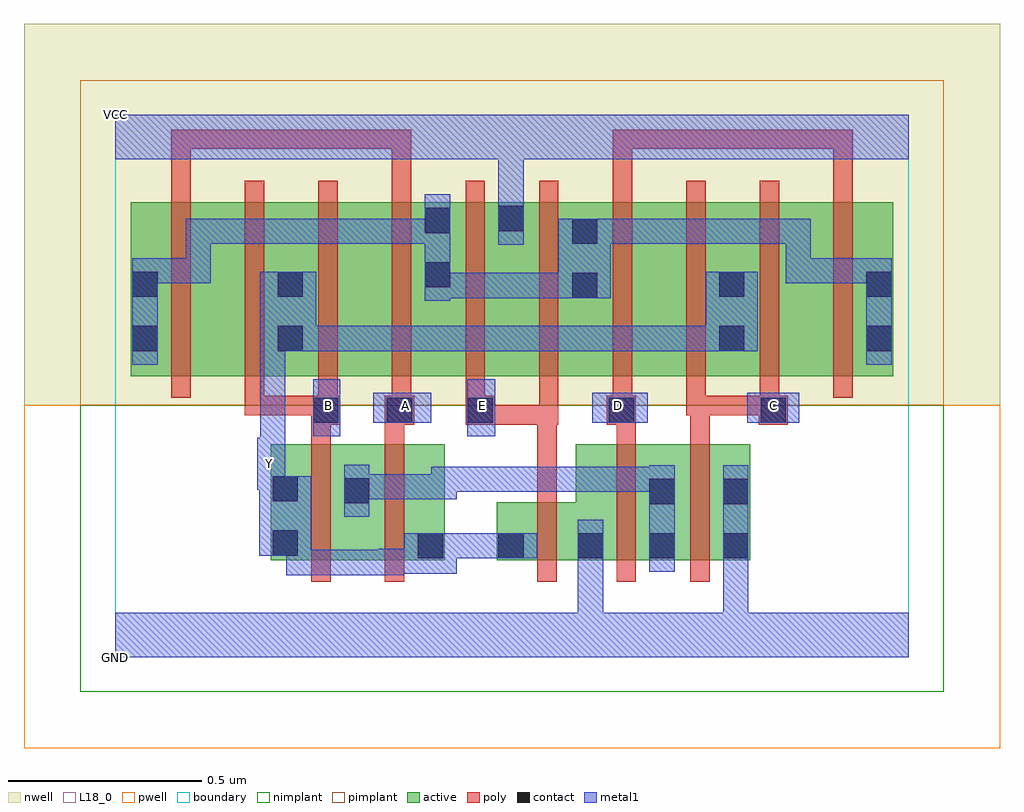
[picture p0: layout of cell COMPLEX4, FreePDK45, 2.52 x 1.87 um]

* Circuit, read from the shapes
.subckt COMPLEX4 A B C D E GND VCC Y
M1 n1 B Y VSUBS nfet w=0.3u l=0.05u
M2 Y A n1 VSUBS nfet w=0.3u l=0.05u
M3 GND E Y VSUBS nfet w=0.15u l=0.05u
M4 n1 D GND VSUBS nfet w=0.3u l=0.05u
M5 GND C n1 VSUBS nfet w=0.3u l=0.05u
M6 n2 A n3 n4 pfet w=0.45u l=0.05u
M7 Y B n2 n4 pfet w=0.45u l=0.05u
M8 n5 B Y n4 pfet w=0.45u l=0.05u
M9 n3 A n5 n4 pfet w=0.45u l=0.05u
M10 VCC E n3 n4 pfet w=0.45u l=0.05u m=2
M11 n6 D n3 n4 pfet w=0.45u l=0.05u
M12 Y C n6 n4 pfet w=0.45u l=0.05u
M13 n7 C Y n4 pfet w=0.45u l=0.05u
M14 n3 D n7 n4 pfet w=0.45u l=0.05u
.ends

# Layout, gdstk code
import gdstk
lib = gdstk.Library(unit=1e-6, precision=1e-09)
def R(c, l, rs):  # rectangles x0, y0, x1, y1
    for r in rs: c.add(gdstk.rectangle(r[:2], r[2:], *l))
def A(c, l, x, y, w, h, nx, ny, dx, dy):  # array of equal rectangles
    R(c, l, [(x+i*dx, y+j*dy, x+i*dx+w, y+j*dy+h) for i in range(nx) for j in range(ny)])
active = (1, 0)
pwell = (2, 0)
nwell = (3, 0)
nimplant = (4, 0)
pimplant = (5, 0)
poly = (9, 0)
contact = (10, 0)
metal1 = (11, 0)
L18_0 = (18, 0)
boundary = (235, 0)

complex4 = lib.new_cell('COMPLEX4')
R(complex4, active, [(0.402,0.25,0.477,0.55), (0.402,0.25,0.662,0.55), (0.587,0.25,0.852,0.55), (0.777,0.25,0.852,0.55), (0.985,0.25,1.06,0.4), (0.985,0.25,1.265,0.4), (1.19,0.25,1.45,0.55), (1.19,0.25,1.265,0.4), (1.375,0.25,1.45,0.55), (1.375,0.25,1.64,0.55), (1.565,0.25,1.64,0.55), (0.587,0.295,0.662,0.467), (0.04,0.725,0.115,1.155), (0.04,0.725,0.265,1.175), (0.265,0.725,0.49,1.175), (0.415,0.725,0.645,1.175), (0.415,0.725,0.49,1.07), (0.645,0.725,0.87,1.175), (0.795,0.725,1.06,1.175), (0.795,0.725,0.87,1.165), (0.985,0.725,1.25,1.175), (1.175,0.725,1.25,1.155), (1.175,0.725,1.405,1.175), (1.405,0.725,1.63,1.175), (1.555,0.725,1.785,1.175), (1.555,0.725,1.63,1.07), (1.785,0.725,2.01,1.175), (1.935,0.725,2.01,1.155), (0.985,0.852,1.06,1.175)])
R(complex4, pwell, [(-0.235,-0.235,2.285,0.65)])
R(complex4, nwell, [(-0.235,0.65,2.285,1.635)])
R(complex4, nimplant, [(-0.09,-0.09,2.14,0.65)])
R(complex4, pimplant, [(-0.09,0.65,2.14,1.49)])
A(complex4, poly, 0.335, 0.625, 0.05, 0.095, 4, 1, 0.19, 0)
A(complex4, poly, 1.285, 0.625, 0.05, 0.095, 3, 1, 0.19, 0)
A(complex4, poly, 0.145, 0.67, 0.05, 0.56, 10, 1, 0.19, 0)
A(complex4, poly, 0.145, 1.18, 0.05, 0.182, 4, 1, 0.57, 0)
R(complex4, poly, [(0.507,0.195,0.557,0.605), (0.697,0.195,0.747,0.605), (1.09,0.195,1.14,0.455), (1.295,0.195,1.345,0.605), (1.485,0.195,1.535,0.605), (1.09,0.405,1.14,0.65), (0.507,0.555,0.557,0.65), (0.697,0.555,0.747,0.65), (1.295,0.555,1.345,0.65), (1.485,0.555,1.535,0.675), (0.507,0.6,0.582,0.675), (0.697,0.6,0.772,0.675), (0.905,0.6,0.98,0.675), (0.93,0.6,0.98,0.65), (0.93,0.6,0.98,0.65), (0.93,0.6,1.14,0.65), (1.09,0.6,1.145,0.65), (1.095,0.6,1.145,0.72), (1.27,0.6,1.345,0.675), (1.662,0.6,1.737,0.675), (0.335,0.625,0.385,0.675), (0.335,0.625,0.385,0.675), (0.335,0.625,0.385,0.675), (0.335,0.625,0.557,0.675), (1.475,0.625,1.535,0.675), (1.485,0.625,1.712,0.675), (1.662,0.625,1.712,0.675), (1.662,0.625,1.712,0.675), (0.145,1.312,0.195,1.362), (0.145,1.312,0.195,1.362), (0.145,1.312,0.195,1.362), (0.145,1.312,0.425,1.362), (0.375,1.312,0.425,1.362), (0.375,1.312,0.425,1.362), (0.375,1.312,0.425,1.362), (0.375,1.312,0.615,1.362), (0.565,1.312,0.615,1.362), (0.565,1.312,0.615,1.362), (0.565,1.312,0.615,1.362), (0.565,1.312,0.765,1.362), (0.715,1.312,0.765,1.362), (1.285,1.312,1.335,1.362), (1.285,1.312,1.335,1.362), (1.285,1.312,1.335,1.362), (1.285,1.312,1.505,1.362), (1.455,1.312,1.505,1.362), (1.455,1.312,1.505,1.362), (1.455,1.312,1.505,1.362), (1.455,1.312,1.667,1.362), (1.617,1.312,1.667,1.362), (1.617,1.312,1.905,1.362), (1.855,1.312,1.905,1.362), (1.855,1.312,1.905,1.362), (1.855,1.312,1.905,1.362)])
R(complex4, contact, [(0.782,0.255,0.847,0.32), (0.99,0.255,1.055,0.32), (1.195,0.255,1.26,0.32), (1.38,0.255,1.445,0.32), (1.57,0.255,1.635,0.32), (0.407,0.262,0.472,0.327), (1.38,0.395,1.445,0.46), (1.57,0.395,1.635,0.46), (0.592,0.397,0.657,0.462), (0.407,0.402,0.472,0.467), (0.512,0.605,0.577,0.67), (0.702,0.605,0.767,0.67), (0.91,0.605,0.975,0.67), (1.275,0.605,1.34,0.67), (1.667,0.605,1.732,0.67), (0.045,0.79,0.11,0.855), (0.42,0.79,0.485,0.855), (1.56,0.79,1.625,0.855), (1.94,0.79,2.005,0.855), (1.18,0.927,1.245,0.992), (0.045,0.93,0.11,0.995), (0.42,0.93,0.485,0.995), (1.56,0.93,1.625,0.995), (1.94,0.93,2.005,0.995), (0.8,0.955,0.865,1.02), (1.18,1.067,1.245,1.132), (0.8,1.095,0.865,1.16), (0.99,1.1,1.055,1.165)])
R(complex4, metal1, [(0,0,2.05,0.115), (1.195,0.05,1.26,0.285), (1.57,0.05,1.635,0.115), (1.57,0.05,1.635,0.115), (1.57,0.05,1.635,0.115), (1.57,0.05,1.635,0.115), (1.57,0.05,1.635,0.285), (0.442,0.212,0.507,0.277), (0.442,0.212,0.507,0.277), (0.442,0.212,0.507,0.277), (0.442,0.212,0.662,0.277), (0.442,0.212,0.507,0.327), (0.597,0.212,0.662,0.277), (0.597,0.212,0.745,0.277), (0.68,0.212,0.745,0.28), (0.68,0.215,0.812,0.28), (0.747,0.215,0.882,0.32), (1.195,0.22,1.26,0.285), (1.195,0.22,1.26,0.285), (1.195,0.22,1.26,0.285), (1.195,0.22,1.26,0.285), (1.195,0.22,1.26,0.355), (1.38,0.22,1.445,0.495), (1.57,0.22,1.635,0.495), (0.817,0.255,0.882,0.32), (0.817,0.255,0.882,0.32), (0.817,0.255,1.02,0.32), (0.955,0.255,1.09,0.32), (0.372,0.262,0.507,0.467), (0.592,0.362,0.657,0.497), (0.375,0.402,0.44,0.497), (0.592,0.407,0.657,0.472), (0.592,0.407,0.657,0.472), (0.592,0.407,0.882,0.472), (0.817,0.407,0.882,0.492), (0.817,0.427,0.882,0.492), (0.817,0.427,0.882,0.492), (0.817,0.427,1.072,0.492), (1.007,0.427,1.072,0.492), (1.007,0.427,1.142,0.492), (1.077,0.427,1.142,0.492), (1.077,0.427,1.28,0.492), (1.215,0.427,1.28,0.492), (1.215,0.427,1.28,0.492), (1.215,0.427,1.28,0.492), (1.215,0.427,1.445,0.492), (0.367,0.432,0.44,0.567), (0.375,0.502,0.44,0.855), (0.512,0.57,0.582,0.717), (0.91,0.57,0.982,0.717), (0.667,0.605,0.817,0.682), (1.232,0.605,1.375,0.682), (1.632,0.605,1.767,0.682), (0.045,0.755,0.11,1.03), (1.94,0.755,2.005,1.03), (0.375,0.79,0.52,0.995), (0.455,0.79,0.52,0.855), (0.455,0.79,0.52,0.855), (0.455,0.79,0.657,0.855), (0.592,0.79,0.657,0.855), (0.592,0.79,0.657,0.855), (0.592,0.79,0.657,0.855), (0.592,0.79,0.812,0.855), (0.747,0.79,0.812,0.855), (0.747,0.79,1.005,0.855), (0.94,0.79,1.005,0.855), (0.94,0.79,1.072,0.855), (1.007,0.79,1.072,0.855), (1.007,0.79,1.142,0.855), (1.077,0.79,1.142,0.855), (1.077,0.79,1.28,0.855), (1.215,0.79,1.28,0.855), (1.215,0.79,1.28,0.855), (1.215,0.79,1.28,0.855), (1.215,0.79,1.417,0.855), (1.352,0.79,1.417,0.855), (1.352,0.79,1.417,0.855), (1.352,0.79,1.417,0.855), (1.352,0.79,1.59,0.855), (1.525,0.79,1.66,0.995), (0.8,0.92,0.865,1.195), (0.8,0.927,0.882,0.992), (0.817,0.927,0.882,0.992), (0.817,0.927,1.072,0.992), (1.007,0.927,1.072,0.992), (1.007,0.927,1.142,0.992), (1.077,0.927,1.142,0.992), (1.077,0.927,1.21,0.992), (1.145,0.927,1.28,1.132), (0.045,0.965,0.11,1.03), (0.045,0.965,0.11,1.03), (0.045,0.965,0.247,1.03), (0.182,0.965,0.247,1.03), (0.182,0.965,0.247,1.132), (1.732,0.965,1.797,1.03), (1.732,0.965,2.005,1.03), (1.732,0.965,1.797,1.132), (1.94,0.965,2.005,1.03), (1.94,0.965,2.005,1.03), (0.99,1.065,1.055,1.2), (0.182,1.067,0.247,1.132), (0.182,1.067,0.247,1.132), (0.182,1.067,0.247,1.132), (0.182,1.067,0.52,1.132), (0.455,1.067,0.52,1.132), (0.455,1.067,0.52,1.132), (0.455,1.067,0.52,1.132), (0.455,1.067,0.657,1.132), (0.592,1.067,0.657,1.132), (0.592,1.067,0.657,1.132), (0.592,1.067,0.657,1.132), (0.592,1.067,0.865,1.132), (1.215,1.067,1.28,1.132), (1.215,1.067,1.28,1.132), (1.215,1.067,1.452,1.132), (1.387,1.067,1.452,1.132), (1.387,1.067,1.452,1.132), (1.387,1.067,1.452,1.132), (1.387,1.067,1.59,1.132), (1.525,1.067,1.59,1.132), (1.525,1.067,1.797,1.132), (1.732,1.067,1.797,1.132), (1.732,1.067,1.797,1.132), (1.732,1.067,1.797,1.132), (0.99,1.135,1.055,1.35), (0,1.285,2.05,1.4), (0.99,1.285,1.055,1.35), (0.99,1.285,1.055,1.35)])
A(complex4, L18_0, 0.517, 0.617, 0.065, 0.065, 3, 1, 0.2, 0)
R(complex4, L18_0, [(0,0,2.05,0.115), (1.195,0.05,1.26,0.285), (1.57,0.05,1.635,0.115), (1.57,0.05,1.635,0.115), (1.57,0.05,1.635,0.115), (1.57,0.05,1.635,0.115), (1.57,0.05,1.635,0.285), (0.442,0.212,0.507,0.277), (0.442,0.212,0.507,0.277), (0.442,0.212,0.507,0.277), (0.442,0.212,0.507,0.327), (0.442,0.212,0.662,0.277), (0.597,0.212,0.662,0.277), (0.597,0.212,0.745,0.277), (0.68,0.212,0.745,0.28), (0.68,0.215,0.812,0.28), (0.747,0.215,0.882,0.32), (1.195,0.22,1.26,0.285), (1.195,0.22,1.26,0.285), (1.195,0.22,1.26,0.285), (1.195,0.22,1.26,0.285), (1.195,0.22,1.26,0.355), (1.57,0.22,1.635,0.495), (0.817,0.255,0.882,0.32), (0.817,0.255,0.882,0.32), (0.817,0.255,1.02,0.32), (0.955,0.255,1.09,0.32), (0.372,0.262,0.507,0.467), (0.375,0.402,0.44,0.497), (0.367,0.432,0.44,0.567), (0.367,0.467,0.432,0.532), (0.375,0.502,0.44,0.855), (0.512,0.57,0.582,0.717), (0.91,0.57,0.982,0.717), (0.667,0.605,0.817,0.682), (1.232,0.605,1.375,0.682), (1.632,0.605,1.767,0.682), (1.267,0.617,1.332,0.682), (1.667,0.617,1.732,0.682), (0.375,0.79,0.52,0.995), (0.455,0.79,0.52,0.855), (0.455,0.79,0.52,0.855), (0.455,0.79,0.657,0.855), (0.592,0.79,0.657,0.855), (0.592,0.79,0.657,0.855), (0.592,0.79,0.657,0.855), (0.592,0.79,0.812,0.855), (0.747,0.79,0.812,0.855), (0.747,0.79,1.005,0.855), (0.94,0.79,1.005,0.855), (0.94,0.79,1.072,0.855), (1.007,0.79,1.072,0.855), (1.007,0.79,1.142,0.855), (1.077,0.79,1.142,0.855), (1.077,0.79,1.28,0.855), (1.215,0.79,1.28,0.855), (1.215,0.79,1.28,0.855), (1.215,0.79,1.28,0.855), (1.215,0.79,1.417,0.855), (1.352,0.79,1.417,0.855), (1.352,0.79,1.417,0.855), (1.352,0.79,1.417,0.855), (1.352,0.79,1.59,0.855), (1.525,0.79,1.66,0.995), (0.99,1.065,1.055,1.2), (0.99,1.135,1.055,1.35), (0,1.285,2.05,1.4), (0.99,1.285,1.055,1.35), (0.99,1.285,1.055,1.35)])
R(complex4, boundary, [(0,0,2.05,1.4)])
complex4.add(gdstk.Label('A', (0.75,0.65), layer=11, texttype=0))
complex4.add(gdstk.Label('B', (0.55,0.65), layer=11, texttype=0))
complex4.add(gdstk.Label('C', (1.7,0.65), layer=11, texttype=0))
complex4.add(gdstk.Label('D', (1.3,0.65), layer=11, texttype=0))
complex4.add(gdstk.Label('E', (0.95,0.65), layer=11, texttype=0))
complex4.add(gdstk.Label('Y', (0.4,0.5), layer=11, texttype=0))
complex4.add(gdstk.Label('VCC', (0,1.4), layer=11, texttype=0))
complex4.add(gdstk.Label('GND', (0,0), layer=11, texttype=0))

lib.write_gds('COMPLEX4.gds')
